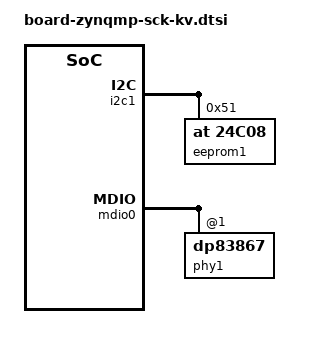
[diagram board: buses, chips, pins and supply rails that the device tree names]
/*
 * ZynqMP KV Carrier card device tree
 *
 * Copyright (c) 2024, Advanced Micro Devices, Inc
 * All rights reserved.
 *
 * SPDX-License-Identifier: BSD-3-Clause
 *
 * QEMU KV Supports
 * 	DP
 * 	SD
 * 	Ethernet
 * 	USB
 * 	EEPROM
 * 	WDT
 * 	SATA
 *
 * eproms need to use blockdev
 * ex:
 * -blockdev node-name=i2c1.eeprom-51,filename=eeprom1.bin,driver=file
 *
 * Not Supported:
 * PMOD
 * Image sensor and Camera connectors
 */

&i2c1 {
	eeprom1: eeprom@51 {
		compatible = "at,24c08";
		reg = <0x51>;
		size = <0x2000>;
		blockdev-node-name = "i2c1.eeprom-51";
	};
	ina260 {
		compatible = "i2c-dev-dummy";
		reg = <0x40>;
	};
	usb5744@1 {
		compatible = "i2c-dev-dummy";
		reg = <0x2d>;
	};
};

&mdio0 {
	phy1: phy@1 {
		compatible = "dp83867";
		device_type = "ethernet-phy";
	};
};

&gem3 {
	mdio = <&mdio0>;
};
